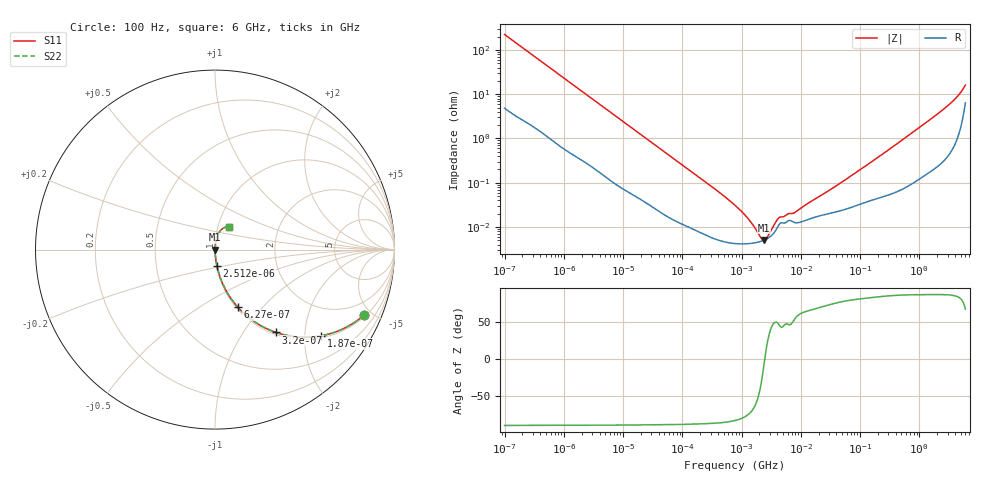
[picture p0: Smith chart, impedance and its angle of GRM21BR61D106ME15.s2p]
!Murata Part Number: GRM21BR61D106ME15
!These Parameters are Measured in Series Mode Connection
!Data Generated on Mar 30, 2021
!  o--ll--o
!Port1  Port2
!  o------o
!Operation Temp=25[degC], DC Bias Voltage=0[V]
!Freq. Start=100[Hz] Stop=6[GHz] 401[Steps]
# Hz S RI R 50
!Freq.(Hz) S11(Real) S11(Imag) S21(Real) S21(Imag) S12(Real) S12(Imag) S22(Real) S22(Imag)
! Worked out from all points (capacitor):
!   401 points, 100 Hz to 6 GHz, reference 50 ohm
!   read as one part in series: C = 7.06 uF near 109 Hz
!   lowest |Z| = 5.06 mohm at 2.373 MHz (marker M1)
!   series resonance near 2.463 MHz, so ESL is about 590 pH
!   S11 on the Smith chart (normalised r, x): 100 Hz: 1.10, -4.49; 187 Hz: 1.06, -2.42; 320 Hz: 1.04, -1.43; 627 Hz: 1.02, -0.74; 2.512 kHz: 1.01, -0.19; 6 GHz: 1.13, +0.30
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100  0.8295 -0.3655  0.1705 0.3655  0.1705 0.3655  0.8295 -0.3655
187  0.592 -0.4802  0.408 0.4802  0.408 0.4802  0.592 -0.4802
320  0.3407 -0.4617  0.6593 0.4617  0.6593 0.4617  0.3407 -0.4617
627  0.1255 -0.3192  0.8745 0.3192  0.8745 0.3192  0.1255 -0.3192
1026  0.0537 -0.2133  0.9463 0.2133  0.9463 0.2133  0.0537 -0.2133
2008  0.0166 -0.1147  0.9834 0.1147  0.9834 0.1147  0.0166 -0.1147
2512  0.0113 -0.0926  0.9887 0.0926  0.9887 0.0926  0.0113 -0.0926
7695  0.00187 -0.0312  0.9981 0.0312  0.9981 0.0312  0.00187 -0.0312
40335  0.000262 -0.00616  0.9997 0.00616  0.9997 0.00616  0.000262 -0.00616
316350  5.73e-05 -0.000809  0.9999 0.000809  0.9999 0.000809  5.73e-05 -0.000809
774597  4.21e-05 -0.000306  1 0.000306  1 0.000306  4.21e-05 -0.000306
1658239  4.36e-05 -8.74e-05  1 8.74e-05  1 8.74e-05  4.36e-05 -8.74e-05
2372521  4.99e-05 -8.2e-06  1 8.2e-06  1 8.2e-06  4.99e-05 -8.2e-06
3245845  6.5e-05 6.22e-05  0.9999 -6.22e-05  0.9999 -6.22e-05  6.5e-05 6.22e-05
4440638  0.000119 0.000116  0.9999 -0.000116  0.9999 -0.000116  0.000119 0.000116
7947587  0.000125 0.000172  0.9999 -0.000172  0.9999 -0.000172  0.000125 0.000172
1.555665e7  0.000159 0.000357  0.9998 -0.000357  0.9998 -0.000357  0.000159 0.000357
4.556224e7  0.000231 0.000934  0.9998 -0.000934  0.9998 -0.000934  0.000231 0.000934
3.124326e8  0.000568 0.00567  0.9994 -0.00567  0.9994 -0.00567  0.000568 0.00567
2.679998e9  0.00551 0.0476  0.9945 -0.0476  0.9945 -0.0476  0.00551 0.0476
4.009986e9  0.0132 0.0762  0.9868 -0.0762  0.9868 -0.0762  0.0132 0.0762
6e9  0.0776 0.1281  0.9224 -0.1281  0.9224 -0.1281  0.0776 0.1281
